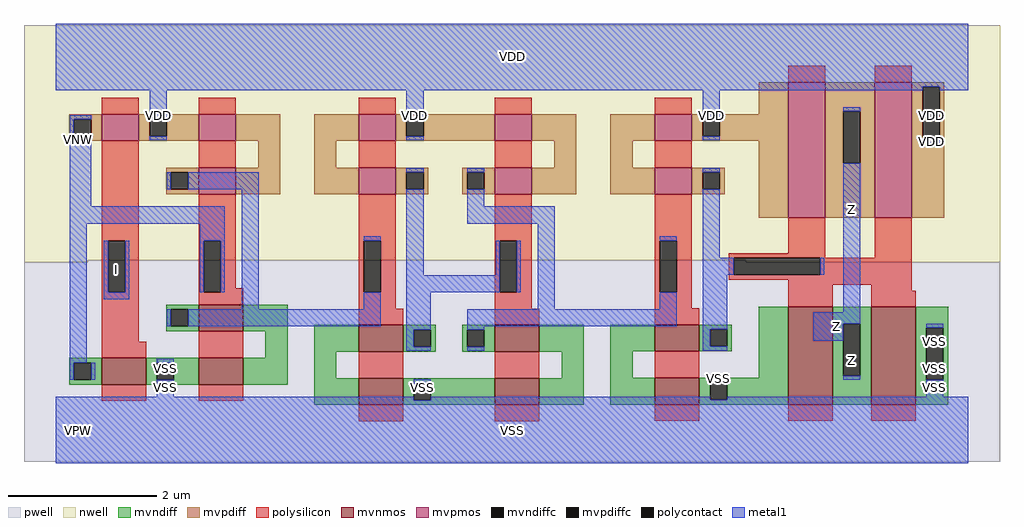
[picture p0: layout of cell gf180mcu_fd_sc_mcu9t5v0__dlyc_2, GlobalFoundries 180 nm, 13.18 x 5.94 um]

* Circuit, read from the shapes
.subckt gf180mcu_fd_sc_mcu9t5v0__dlyc_2 I Z VDD VNW VPW VSS
XM1 VSS I n1 VPW nfet_06v0 w=0.36u l=0.6u
XM2 n2 n1 VSS VPW nfet_06v0 w=0.36u l=0.6u
XM3 n2 n1 n3 VPW nfet_06v0 w=0.36u l=0.6u
XM4 VSS n3 n4 VPW nfet_06v0 w=0.36u l=0.6u
XM5 n5 n3 n4 VPW nfet_06v0 w=0.36u l=0.6u
XM6 n6 n5 VSS VPW nfet_06v0 w=0.36u l=0.6u
XM7 n6 n5 n7 VPW nfet_06v0 w=0.36u l=0.6u
XM8 VSS n7 n8 VPW nfet_06v0 w=0.36u l=0.6u
XM9 n9 n7 n8 VPW nfet_06v0 w=0.36u l=0.6u
XM10 Z n9 VSS VPW nfet_06v0 w=1.32u l=0.6u m=2
XM11 VDD I n1 VNW pfet_06v0 w=0.36u l=0.5u
XM12 n10 n1 n3 VNW pfet_06v0 w=0.36u l=0.5u
XM13 n10 n1 VDD VNW pfet_06v0 w=0.36u l=0.5u
XM14 n5 n3 n11 VNW pfet_06v0 w=0.36u l=0.5u
XM15 VDD n3 n11 VNW pfet_06v0 w=0.36u l=0.5u
XM16 n12 n5 n7 VNW pfet_06v0 w=0.36u l=0.5u
XM17 n12 n5 VDD VNW pfet_06v0 w=0.36u l=0.5u
XM18 n9 n7 n13 VNW pfet_06v0 w=0.36u l=0.5u
XM19 VDD n7 n13 VNW pfet_06v0 w=0.36u l=0.5u
XM20 Z n9 VDD VNW pfet_06v0 w=1.83u l=0.5u m=2
.ends

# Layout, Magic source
magic
tech gf180mcuD
magscale 1 10
<< nwell >>
rect -86 459 2550 1094
rect -86 453 86 459
rect 1863 453 2550 459
<< pwell >>
rect 86 453 1863 459
rect -86 -86 2550 453
<< mvnmos >>
rect 386 267 506 339
rect 124 123 244 195
rect 386 123 506 195
rect 818 212 938 284
rect 1186 212 1306 284
rect 818 68 938 140
rect 1186 68 1306 140
rect 1618 213 1738 285
rect 1618 69 1738 141
rect 1978 69 2098 333
rect 2202 69 2322 333
<< mvpmos >>
rect 124 781 224 853
rect 386 781 486 853
rect 386 637 486 709
rect 818 781 918 853
rect 1186 781 1286 853
rect 818 637 918 709
rect 1186 637 1286 709
rect 1618 781 1718 853
rect 1618 637 1718 709
rect 1978 574 2078 940
rect 2212 574 2312 940
<< mvndiff >>
rect 298 326 386 339
rect 298 280 311 326
rect 357 280 386 326
rect 298 267 386 280
rect 506 267 626 339
rect 566 195 626 267
rect 36 182 124 195
rect 36 136 49 182
rect 95 136 124 182
rect 36 123 124 136
rect 244 182 386 195
rect 244 136 273 182
rect 319 136 386 182
rect 244 123 386 136
rect 506 123 626 195
rect 698 212 818 284
rect 938 271 1026 284
rect 938 225 967 271
rect 1013 225 1026 271
rect 938 212 1026 225
rect 1098 271 1186 284
rect 1098 225 1111 271
rect 1157 225 1186 271
rect 1098 212 1186 225
rect 1306 212 1426 284
rect 698 140 758 212
rect 1366 140 1426 212
rect 698 68 818 140
rect 938 127 1186 140
rect 938 81 967 127
rect 1013 81 1186 127
rect 938 68 1186 81
rect 1306 68 1426 140
rect 1498 213 1618 285
rect 1738 272 1826 285
rect 1738 226 1767 272
rect 1813 226 1826 272
rect 1738 213 1826 226
rect 1498 141 1558 213
rect 1898 141 1978 333
rect 1498 69 1618 141
rect 1738 128 1978 141
rect 1738 82 1767 128
rect 1813 82 1978 128
rect 1738 69 1978 82
rect 2098 287 2202 333
rect 2098 147 2127 287
rect 2173 147 2202 287
rect 2098 69 2202 147
rect 2322 276 2410 333
rect 2322 136 2351 276
rect 2397 136 2410 276
rect 2322 69 2410 136
<< mvpdiff >>
rect 1898 853 1978 940
rect 36 840 124 853
rect 36 794 49 840
rect 95 794 124 840
rect 36 781 124 794
rect 224 840 386 853
rect 224 794 253 840
rect 299 794 386 840
rect 224 781 386 794
rect 486 781 606 853
rect 546 709 606 781
rect 298 696 386 709
rect 298 650 311 696
rect 357 650 386 696
rect 298 637 386 650
rect 486 637 606 709
rect 698 781 818 853
rect 918 840 1186 853
rect 918 794 947 840
rect 993 794 1186 840
rect 918 781 1186 794
rect 1286 781 1406 853
rect 698 709 758 781
rect 1346 709 1406 781
rect 698 637 818 709
rect 918 696 1006 709
rect 918 650 947 696
rect 993 650 1006 696
rect 918 637 1006 650
rect 1098 696 1186 709
rect 1098 650 1111 696
rect 1157 650 1186 696
rect 1098 637 1186 650
rect 1286 637 1406 709
rect 1498 781 1618 853
rect 1718 840 1978 853
rect 1718 794 1747 840
rect 1793 794 1978 840
rect 1718 781 1978 794
rect 1498 709 1558 781
rect 1498 637 1618 709
rect 1718 696 1806 709
rect 1718 650 1747 696
rect 1793 650 1806 696
rect 1718 637 1806 650
rect 1898 574 1978 781
rect 2078 861 2212 940
rect 2078 721 2127 861
rect 2173 721 2212 861
rect 2078 574 2212 721
rect 2312 927 2400 940
rect 2312 787 2341 927
rect 2387 787 2400 927
rect 2312 574 2400 787
<< mvndiffc >>
rect 311 280 357 326
rect 49 136 95 182
rect 273 136 319 182
rect 967 225 1013 271
rect 1111 225 1157 271
rect 967 81 1013 127
rect 1767 226 1813 272
rect 1767 82 1813 128
rect 2127 147 2173 287
rect 2351 136 2397 276
<< mvpdiffc >>
rect 49 794 95 840
rect 253 794 299 840
rect 311 650 357 696
rect 947 794 993 840
rect 947 650 993 696
rect 1111 650 1157 696
rect 1747 794 1793 840
rect 1747 650 1793 696
rect 2127 721 2173 861
rect 2341 787 2387 927
<< polysilicon >>
rect 1978 940 2078 984
rect 2212 940 2312 984
rect 124 853 224 897
rect 386 853 486 897
rect 818 853 918 897
rect 1186 853 1286 897
rect 1618 853 1718 897
rect 124 512 224 781
rect 386 709 486 781
rect 818 709 918 781
rect 1186 709 1286 781
rect 1618 709 1718 781
rect 124 372 141 512
rect 187 372 224 512
rect 124 239 224 372
rect 386 512 486 637
rect 386 372 399 512
rect 445 383 486 512
rect 818 512 918 637
rect 445 372 506 383
rect 386 339 506 372
rect 818 372 831 512
rect 877 372 918 512
rect 818 328 918 372
rect 1186 512 1286 637
rect 1186 372 1199 512
rect 1245 372 1286 512
rect 1186 328 1286 372
rect 1618 512 1718 637
rect 1618 372 1631 512
rect 1677 372 1718 512
rect 1978 478 2078 574
rect 1818 465 2078 478
rect 2212 465 2312 574
rect 1818 419 1831 465
rect 2065 419 2312 465
rect 1818 406 2312 419
rect 1618 329 1718 372
rect 1978 393 2312 406
rect 1978 333 2098 393
rect 2202 377 2312 393
rect 2202 333 2322 377
rect 818 284 938 328
rect 1186 284 1306 328
rect 1618 285 1738 329
rect 124 195 244 239
rect 386 195 506 267
rect 818 140 938 212
rect 1186 140 1306 212
rect 124 79 244 123
rect 386 79 506 123
rect 1618 141 1738 213
rect 818 24 938 68
rect 1186 24 1306 68
rect 1618 25 1738 69
rect 1978 25 2098 69
rect 2202 25 2322 69
<< polycontact >>
rect 141 372 187 512
rect 399 372 445 512
rect 831 372 877 512
rect 1199 372 1245 512
rect 1631 372 1677 512
rect 1831 419 2065 465
<< metal1 >>
rect 0 927 2464 1098
rect 0 918 2341 927
rect 38 840 95 851
rect 38 794 49 840
rect 38 604 95 794
rect 253 840 299 918
rect 253 783 299 794
rect 947 840 993 918
rect 947 783 993 794
rect 1747 840 1793 918
rect 1747 783 1793 794
rect 2127 861 2173 872
rect 2387 918 2464 927
rect 2341 776 2387 787
rect 947 696 993 707
rect 300 650 311 696
rect 357 650 548 696
rect 38 558 456 604
rect 38 182 84 558
rect 388 512 456 558
rect 130 372 141 512
rect 187 372 198 512
rect 388 372 399 512
rect 445 372 456 512
rect 130 354 198 372
rect 502 326 548 650
rect 831 512 877 523
rect 831 326 877 372
rect 300 280 311 326
rect 357 280 877 326
rect 947 418 993 650
rect 1111 696 1157 707
rect 1111 604 1157 650
rect 1747 696 1793 707
rect 1111 558 1348 604
rect 1188 418 1199 512
rect 947 372 1199 418
rect 1245 372 1256 512
rect 947 271 1013 372
rect 1302 326 1348 558
rect 1631 512 1677 523
rect 1631 326 1677 372
rect 947 225 967 271
rect 947 214 1013 225
rect 1111 280 1677 326
rect 1747 465 1793 650
rect 1747 419 1831 465
rect 2065 419 2076 465
rect 1111 271 1157 280
rect 1111 214 1157 225
rect 1747 272 1813 419
rect 2127 318 2173 721
rect 1747 226 1767 272
rect 2046 287 2173 318
rect 2046 242 2127 287
rect 1747 215 1813 226
rect 273 182 319 193
rect 38 136 49 182
rect 95 136 106 182
rect 273 90 319 136
rect 967 127 1013 138
rect 0 81 967 90
rect 1767 128 1813 139
rect 2127 136 2173 147
rect 2351 276 2397 287
rect 1013 82 1767 90
rect 2351 90 2397 136
rect 1813 82 2464 90
rect 1013 81 2464 82
rect 0 -90 2464 81
<< labels >>
flabel metal1 s 130 354 198 512 0 FreeSans 200 0 0 0 I
port 1 nsew default input
flabel metal1 s 0 918 2464 1098 0 FreeSans 200 0 0 0 VDD
port 3 nsew power bidirectional abutment
flabel metal1 s 2351 193 2397 287 0 FreeSans 200 0 0 0 VSS
port 6 nsew ground bidirectional abutment
flabel metal1 s 2127 318 2173 872 0 FreeSans 200 0 0 0 Z
port 2 nsew default output
flabel nwell s 10 734 110 834 0 FreeSans 400 0 0 0 VNW
port 4 nsew power bidirectional
flabel pwell s 10 -50 110 50 0 FreeSans 400 0 0 0 VPW
port 5 nsew ground bidirectional
rlabel metal1 s 2046 242 2173 318 1 Z
port 2 nsew default output
rlabel metal1 s 2127 136 2173 242 1 Z
port 2 nsew default output
rlabel metal1 s 2341 783 2387 918 1 VDD
port 3 nsew power bidirectional abutment
rlabel metal1 s 1747 783 1793 918 1 VDD
port 3 nsew power bidirectional abutment
rlabel metal1 s 947 783 993 918 1 VDD
port 3 nsew power bidirectional abutment
rlabel metal1 s 253 783 299 918 1 VDD
port 3 nsew power bidirectional abutment
rlabel metal1 s 2341 776 2387 783 1 VDD
port 3 nsew power bidirectional abutment
rlabel metal1 s 2351 139 2397 193 1 VSS
port 6 nsew ground bidirectional abutment
rlabel metal1 s 273 139 319 193 1 VSS
port 6 nsew ground bidirectional abutment
rlabel metal1 s 2351 138 2397 139 1 VSS
port 6 nsew ground bidirectional abutment
rlabel metal1 s 1767 138 1813 139 1 VSS
port 6 nsew ground bidirectional abutment
rlabel metal1 s 273 138 319 139 1 VSS
port 6 nsew ground bidirectional abutment
rlabel metal1 s 2351 90 2397 138 1 VSS
port 6 nsew ground bidirectional abutment
rlabel metal1 s 1767 90 1813 138 1 VSS
port 6 nsew ground bidirectional abutment
rlabel metal1 s 967 90 1013 138 1 VSS
port 6 nsew ground bidirectional abutment
rlabel metal1 s 273 90 319 138 1 VSS
port 6 nsew ground bidirectional abutment
rlabel metal1 s 0 -90 2464 90 1 VSS
port 6 nsew ground bidirectional abutment
<< properties >>
string FIXED_BBOX 0 0 2464 1008
string GDS_END 733666
string GDS_FILE $PDKPATH/libs.ref/gf180mcu_fd_sc_mcu9t5v0/gds/gf180mcu_fd_sc_mcu9t5v0.gds
string GDS_START 727644
string LEFclass core
string LEFsite GF018hv5v_green_sc9
string LEFsymmetry X Y
<< end >>
